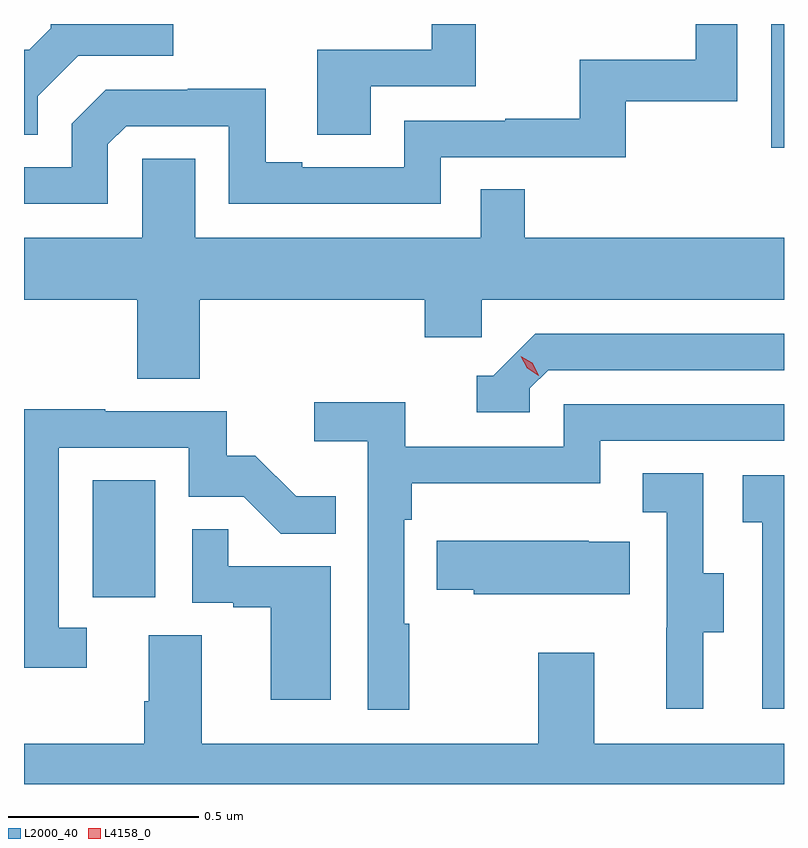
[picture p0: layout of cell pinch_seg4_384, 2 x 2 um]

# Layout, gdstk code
import gdstk
lib = gdstk.Library(unit=1e-6, precision=1e-09)
def R(c, l, rs):  # rectangles x0, y0, x1, y1
    for r in rs: c.add(gdstk.rectangle(r[:2], r[2:], *l))
def P(c, l, *ps):  # polygons
    for p in ps: c.add(gdstk.Polygon(p, *l))
L2000_40 = (2000, 40)
L4158_0 = (4158, 0)

pinch_seg4_384 = lib.new_cell('pinch_seg4_384')
R(pinch_seg4_384, L2000_40, [(1001.594,769.398,1001.758,769.705), (1003.379,770.58,1003.413,770.906)])
P(pinch_seg4_384, L2000_40, [(1001.449,770.716),(1001.556,770.823),(1001.806,770.823),(1001.806,770.906),(1001.484,770.906),(1001.484,770.895),(1001.427,770.838),(1001.413,770.838),(1001.413,770.614),(1001.449,770.614)],
  [(1001.634,770.589),(1001.682,770.637),(1001.952,770.637),(1001.952,770.433),(1002.51,770.433),(1002.51,770.556),(1002.997,770.556),(1002.997,770.703),(1003.29,770.703),(1003.29,770.906),(1003.181,770.906),(1003.181,770.812),(1002.876,770.812),(1002.876,770.657),(1002.679,770.657),(1002.679,770.652),(1002.414,770.652),(1002.414,770.529),(1002.145,770.529),(1002.145,770.542),(1002.049,770.542),(1002.049,770.735),(1001.844,770.735),(1001.844,770.733),(1001.628,770.733),(1001.538,770.643),(1001.538,770.529),(1001.413,770.529),(1001.413,770.433),(1001.634,770.433)],
  [(1002.325,770.742),(1002.602,770.742),(1002.602,770.906),(1002.486,770.906),(1002.486,770.838),(1002.185,770.838),(1002.185,770.614),(1002.325,770.614)],
  [(1001.876,770.18),(1002.467,770.18),(1002.467,770.082),(1002.618,770.082),(1002.618,770.18),(1003.413,770.18),(1003.413,770.344),(1002.731,770.344),(1002.731,770.471),(1002.615,770.471),(1002.615,770.344),(1001.863,770.344),(1001.863,770.552),(1001.724,770.552),(1001.724,770.344),(1001.413,770.344),(1001.413,770.18),(1001.711,770.18),(1001.711,769.972),(1001.876,769.972)],
  [(1002.744,769.947),(1002.792,769.995),(1003.413,769.995),(1003.413,770.091),(1002.759,770.091),(1002.648,769.98),(1002.605,769.98),(1002.605,769.884),(1002.744,769.884)],
  [(1002.427,769.328),(1002.414,769.328),(1002.414,769.601),(1002.434,769.601),(1002.434,769.697),(1002.93,769.697),(1002.93,769.809),(1003.413,769.809),(1003.413,769.905),(1002.834,769.905),(1002.834,769.794),(1002.416,769.794),(1002.416,769.91),(1002.177,769.91),(1002.177,769.808),(1002.318,769.808),(1002.318,769.101),(1002.427,769.101)],
  [(1001.578,769.317),(1001.505,769.317),(1001.505,769.791),(1001.847,769.791),(1001.847,769.662),(1001.991,769.662),(1002.089,769.564),(1002.233,769.564),(1002.233,769.663),(1002.129,769.663),(1002.022,769.77),(1001.946,769.77),(1001.946,769.887),(1001.627,769.887),(1001.627,769.892),(1001.413,769.892),(1001.413,769.212),(1001.578,769.212)],
  [(1003.201,769.306),(1003.255,769.306),(1003.255,769.461),(1003.2,769.461),(1003.2,769.724),(1003.041,769.724),(1003.041,769.621),(1003.104,769.621),(1003.104,769.317),(1003.103,769.317),(1003.103,769.104),(1003.201,769.104)],
  [(1003.413,769.719),(1003.305,769.719),(1003.305,769.595),(1003.356,769.595),(1003.356,769.104),(1003.413,769.104)],
  [(1002.22,769.479),(1001.951,769.479),(1001.951,769.577),(1001.856,769.577),(1001.856,769.383),(1001.963,769.383),(1001.963,769.371),(1002.062,769.371),(1002.062,769.128),(1002.22,769.128)],
  [(1003.007,769.543),(1002.899,769.543),(1002.899,769.546),(1002.499,769.546),(1002.499,769.417),(1002.597,769.417),(1002.597,769.406),(1003.007,769.406)],
  [(1003.413,769.012),(1002.913,769.012),(1002.913,769.252),(1002.766,769.252),(1002.766,769.012),(1001.881,769.012),(1001.881,769.298),(1001.741,769.298),(1001.741,769.124),(1001.729,769.124),(1001.729,769.012),(1001.413,769.012),(1001.413,768.906),(1003.413,768.906)])
P(pinch_seg4_384, L4158_0, [(1002.768,769.981),(1002.737,770),(1002.72,770.032),(1002.72,770.032),(1002.72,770.032),(1002.751,770.014),(1002.768,769.982),(1002.768,769.981)])

lib.write_gds('pinch_seg4_384.gds')
